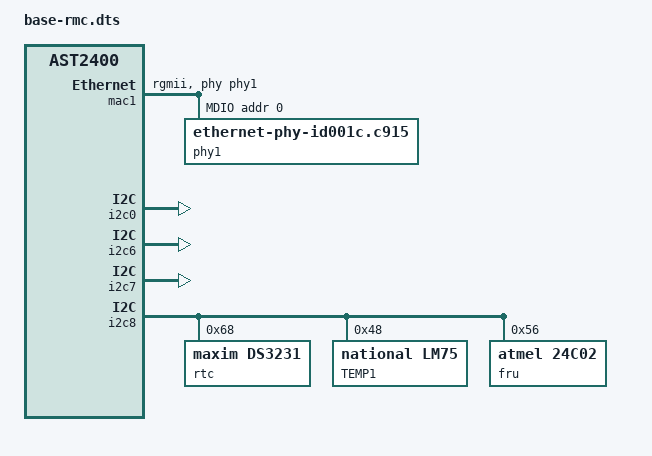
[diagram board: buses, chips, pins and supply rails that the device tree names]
/dts-v1/;
/plugin/;

#include <dt-bindings/gpio/gpio.h>
#include <dt-bindings/gpio/aspeed-gpio.h>

/ {
	compatible = "aspeed,ast2400";

	fragment@0 {
		target = <&mac1>;
		__overlay__ {
			status = "okay";

	no-hw-checksum;

	phy-handle = <&phy1>;
	phy-mode = "rgmii";

	pinctrl-names = "default";
	pinctrl-0 = <&pinctrl_rgmii2_default &pinctrl_mdio2_default>;

	mdio {
		phy1: phy@0 {
			compatible = "ethernet-phy-id001c.c915";
			reg = <0>;
		};
			};
		};
	};

	fragment@1 {
		target = <&i2c0>;
		__overlay__ {
			status = "okay";
		};
	};

	fragment@2 {
		target = <&i2c6>;
		__overlay__ {
			status = "okay";
		};
	};

	fragment@3 {
		target = <&i2c7>;
		__overlay__ {
			status = "okay";
		};
	};

	fragment@4 {
		target = <&i2c8>;
		__overlay__ {
			status = "okay";

			rtc@68 {
				compatible = "maxim,ds3231";
				reg = <0x68>;
				// interrupts = <GPIOF0>
			};

			tmp {
				label = "TEMP1";
				compatible = "national,lm75";
				reg = <0x48>;
			};
			fru {
				compatible = "atmel,24c02";
				reg = <0x56>;
				pagesize = <32>;
			};
		};
	};
};
